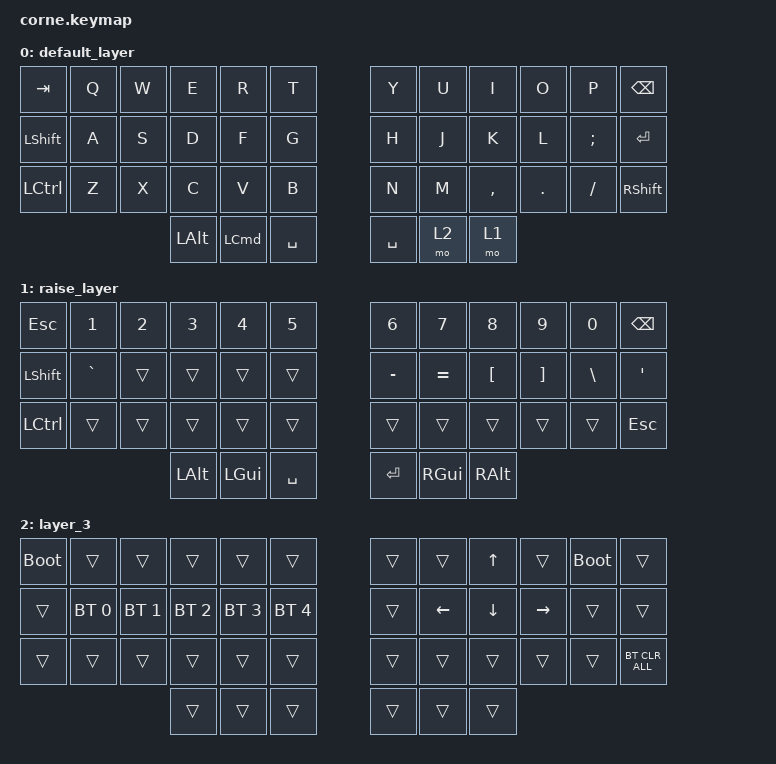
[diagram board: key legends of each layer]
/*
 * Copyright (c) 2020 The ZMK Contributors
 *
 * SPDX-License-Identifier: MIT
 */

#include <behaviors.dtsi>
#include <dt-bindings/zmk/bt.h>
#include <dt-bindings/zmk/keys.h>

/ {
    keymap {
        compatible = "zmk,keymap";

        default_layer {
            // -----------------------------------------------------------------------------------------
            // |  TAB |  Q  |  W  |  E  |  R  |  T  |   |  Y  |  U   |  I  |  O  |  P  | BKSP |
            // | CTRL |  A  |  S  |  D  |  F  |  G  |   |  H  |  J   |  K  |  L  |  ;  |  '   |
            // | SHFT |  Z  |  X  |  C  |  V  |  B  |   |  N  |  M   |  ,  |  .  |  /  | ESC  |
            //                    | GUI | LWR | SPC |   | ENT | RSE  | ALT |

            bindings = <
&kp TAB         &kp Q  &kp W  &kp E         &kp R             &kp T        &kp Y      &kp U  &kp I      &kp O    &kp P     &kp BSPC
&kp LEFT_SHIFT  &kp A  &kp S  &kp D         &kp F             &kp G        &kp H      &kp J  &kp K      &kp L    &kp SEMI  &kp ENTER
&kp LCTRL       &kp Z  &kp X  &kp C         &kp V             &kp B        &kp N      &kp M  &kp COMMA  &kp DOT  &kp FSLH  &kp RSHFT
                              &kp LEFT_ALT  &kp LEFT_COMMAND  &kp SPACE    &kp SPACE  &mo 2  &mo 1
            >;
        };

        raise_layer {
            // -----------------------------------------------------------------------------------------
            // |  TAB |  !  |  @  |  #  |  $  |  %  |   |  ^  |  &  |  *  |  (  |  )  | BKSP |
            // | CTRL |     |     |     |     |     |   |  -  |  =  |  [  |  ]  |  \  |  `   |
            // | SHFT |     |     |     |     |     |   |  _  |  +  |  {  |  }  | "|" |  ~   |
            //                    | GUI |     | SPC |   | ENT |     | ALT |

            bindings = <
&kp ESC         &kp N1     &kp N2  &kp N3        &kp N4    &kp N5       &kp N6     &kp N7     &kp N8    &kp N9    &kp N0    &kp BSPC
&kp LEFT_SHIFT  &kp GRAVE  &trans  &trans        &trans    &trans       &kp MINUS  &kp EQUAL  &kp LBKT  &kp RBKT  &kp BSLH  &kp SINGLE_QUOTE
&kp LCTRL       &trans     &trans  &trans        &trans    &trans       &trans     &trans     &trans    &trans    &trans    &kp ESCAPE
                                   &kp LEFT_ALT  &kp LGUI  &kp SPACE    &kp RET    &kp RGUI   &kp RALT
            >;
        };

        layer_3 {
            bindings = <
&bootloader  &trans        &trans        &trans        &trans        &trans          &trans  &trans          &kp UP_ARROW    &trans           &bootloader  &trans
&trans       &bt BT_SEL 0  &bt BT_SEL 1  &bt BT_SEL 2  &bt BT_SEL 3  &bt BT_SEL 4    &trans  &kp LEFT_ARROW  &kp DOWN_ARROW  &kp RIGHT_ARROW  &trans       &trans
&trans       &trans        &trans        &trans        &trans        &trans          &trans  &trans          &trans          &trans           &trans       &bt BT_CLR_ALL
                                         &trans        &trans        &trans          &trans  &trans          &trans
            >;
        };
    };
};
